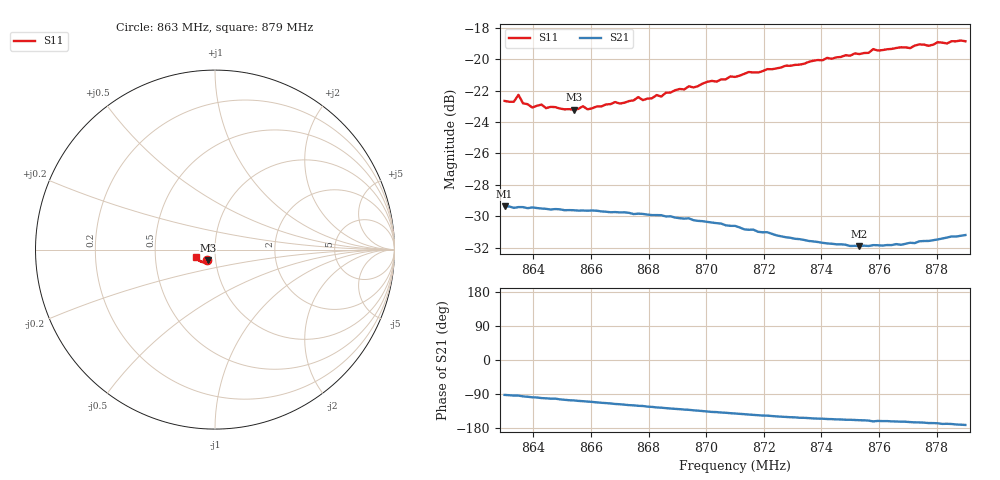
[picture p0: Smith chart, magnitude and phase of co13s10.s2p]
# HZ S RI R 50
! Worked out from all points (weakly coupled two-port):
!   101 points, 863 MHz to 879 MHz, reference 50 ohm
!   highest |S21| = -29.38 dB at 863 MHz (marker M1); lowest = -31.9 dB at 875.32 MHz (marker M2)
!   lowest |S11| = -23.2 dB at 865.4 MHz (marker M3), VSWR 1.15, Z = 46 - j5.29 ohm
!   |S11| at or under -10 dB: start of sweep to end of sweep
!   S12 and S22 are empty: the file has one direction only
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8.63e8  -0.046 -0.0574  -0.00127 -0.034  0 0  0 0
8.6332e8  -0.0451 -0.0576  -0.0023 -0.0335  0 0  0 0
8.6348e8  -0.0515 -0.0572  -0.0023 -0.0337  0 0  0 0
8.6364e8  -0.0451 -0.0565  -0.00352 -0.0336  0 0  0 0
8.6396e8  -0.0426 -0.0557  -0.00495 -0.0334  0 0  0 0
8.6428e8  -0.0417 -0.0583  -0.00608 -0.0329  0 0  0 0
8.6444e8  -0.0413 -0.0562  -0.00644 -0.0327  0 0  0 0
8.654e8  -0.0386 -0.0572  -0.00946 -0.0317  0 0  0 0
8.6572e8  -0.0382 -0.0596  -0.0106 -0.0312  0 0  0 0
8.6588e8  -0.0369 -0.0585  -0.0111 -0.031  0 0  0 0
8.6716e8  -0.038 -0.0619  -0.0152 -0.0288  0 0  0 0
8.6764e8  -0.0395 -0.0646  -0.0165 -0.0276  0 0  0 0
8.678e8  -0.0378 -0.0636  -0.0167 -0.0275  0 0  0 0
8.6828e8  -0.0399 -0.0656  -0.0184 -0.0261  0 0  0 0
8.6844e8  -0.0394 -0.065  -0.0187 -0.0258  0 0  0 0
8.694e8  -0.0435 -0.0694  -0.0206 -0.0233  0 0  0 0
8.71e8  -0.0512 -0.0713  -0.0229 -0.0185  0 0  0 0
8.7372e8  -0.0697 -0.07  -0.0237 -0.0114  0 0  0 0
8.7532e8  -0.0812 -0.0645  -0.0237 -0.00915  0 0  0 0
8.758e8  -0.0885 -0.0612  -0.0243 -0.00791  0 0  0 0
8.7644e8  -0.0902 -0.059  -0.0243 -0.00792  0 0  0 0
8.79e8  -0.107 -0.0393  -0.0272 -0.00411  0 0  0 0
